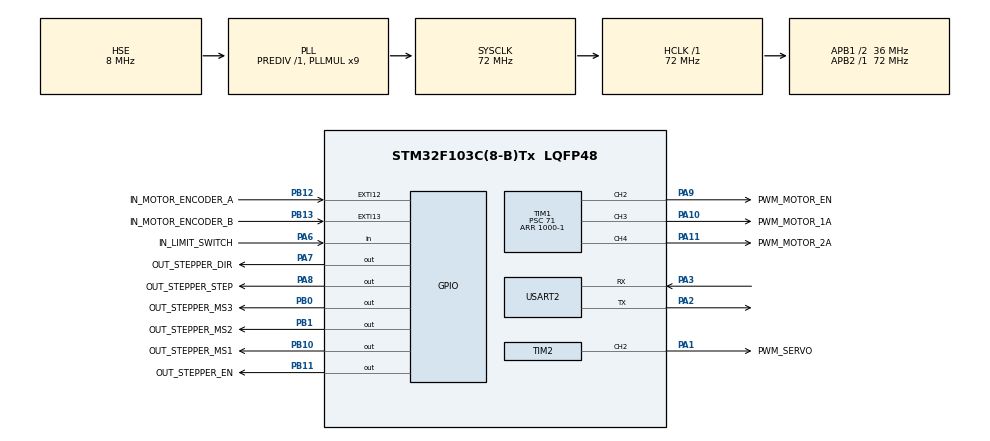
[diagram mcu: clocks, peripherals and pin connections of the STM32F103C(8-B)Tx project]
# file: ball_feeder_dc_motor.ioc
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Mcu.Family=STM32F1
Mcu.Name=STM32F103C(8-B)Tx
Mcu.Package=LQFP48
NVIC.EXTI15_10_IRQn=true\:0\:0\:false\:false\:true\:true\:true\:true
NVIC.PriorityGroup=NVIC_PRIORITYGROUP_4
NVIC.USART2_IRQn=true\:0\:0\:false\:false\:true\:true\:true\:true
PA1.GPIO_Label=PWM_SERVO
PA1.Signal=S_TIM2_CH2
PA10.GPIO_Label=PWM_MOTOR_1A
PA10.Signal=S_TIM1_CH3
PA11.GPIO_Label=PWM_MOTOR_2A
PA11.Signal=S_TIM1_CH4
PA13.Mode=Serial_Wire
PA13.Signal=SYS_JTMS-SWDIO
PA14.Mode=Serial_Wire
PA14.Signal=SYS_JTCK-SWCLK
PA2.Mode=Asynchronous
PA2.Signal=USART2_TX
PA3.Mode=Asynchronous
PA3.Signal=USART2_RX
PA6.GPIO_Label=IN_LIMIT_SWITCH
PA6.Signal=GPIO_Input
PA7.GPIO_Label=OUT_STEPPER_DIR
PA7.Signal=GPIO_Output
PA8.GPIO_Label=OUT_STEPPER_STEP
PA8.Signal=GPIO_Output
PA9.GPIO_Label=PWM_MOTOR_EN
PA9.Signal=S_TIM1_CH2
PB0.GPIO_Label=OUT_STEPPER_MS3
PB0.Signal=GPIO_Output
PB1.GPIO_Label=OUT_STEPPER_MS2
PB1.Signal=GPIO_Output
PB10.GPIO_Label=OUT_STEPPER_MS1
PB10.Signal=GPIO_Output
PB11.GPIO_Label=OUT_STEPPER_EN
PB11.Signal=GPIO_Output
PB12.GPIO_Label=IN_MOTOR_ENCODER_A
PB12.GPIO_PuPd=GPIO_PULLUP
PB12.Signal=GPXTI12
PB13.GPIO_Label=IN_MOTOR_ENCODER_B
PB13.GPIO_PuPd=GPIO_PULLUP
PB13.Signal=GPXTI13
PD0-OSC_IN.Mode=HSE-External-Oscillator
PD0-OSC_IN.Signal=RCC_OSC_IN
PD1-OSC_OUT.Mode=HSE-External-Oscillator
PD1-OSC_OUT.Signal=RCC_OSC_OUT
ProjectManager.HeapSize=0x200
ProjectManager.StackSize=0x400
ProjectManager.TargetToolchain=STM32CubeIDE
RCC.AHBFreq_Value=72000000
RCC.APB1CLKDivider=RCC_HCLK_DIV2
RCC.APB1Freq_Value=36000000
RCC.APB1TimFreq_Value=72000000
RCC.APB2Freq_Value=72000000
RCC.APB2TimFreq_Value=72000000
RCC.HCLKFreq_Value=72000000
RCC.PLLMUL=RCC_PLL_MUL9
RCC.PLLSourceVirtual=RCC_PLLSOURCE_HSE
RCC.SYSCLKFreq_VALUE=72000000
RCC.SYSCLKSource=RCC_SYSCLKSOURCE_PLLCLK
RCC.USBFreq_Value=72000000
SH.S_TIM1_CH2.0=TIM1_CH2,PWM Generation2 CH2
SH.S_TIM1_CH3.0=TIM1_CH3,PWM Generation3 CH3
SH.S_TIM1_CH4.0=TIM1_CH4,PWM Generation4 CH4
SH.S_TIM2_CH2.0=TIM2_CH2,PWM Generation2 CH2
TIM1.Channel-PWM\ Generation2\ CH2=TIM_CHANNEL_2
TIM1.Channel-PWM\ Generation3\ CH3=TIM_CHANNEL_3
TIM1.Channel-PWM\ Generation4\ CH4=TIM_CHANNEL_4
TIM1.Period=1000-1
TIM1.Prescaler=71
TIM2.Channel-PWM\ Generation2\ CH2=TIM_CHANNEL_2
TIM2.Period=20000-1
TIM2.Prescaler=72-1
USART2.VirtualMode=VM_ASYNC
VP_TIM1_VS_ClockSourceINT.Mode=Internal
board=custom

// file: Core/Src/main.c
/* USER CODE BEGIN Header */
/**
  ******************************************************************************
  * @file           : main.c
  * @brief          : Main program body
  ******************************************************************************
  * @attention
  *
  * Copyright (c) 2022 STMicroelectronics.
  * All rights reserved.
  *
  * This software is licensed under terms that can be found in the LICENSE file
  * in the root directory of this software component.
  * If no LICENSE file comes with this software, it is provided AS-IS.
  *
  ******************************************************************************
  */
/* USER CODE END Header */
#include "main.h"

TIM_HandleTypeDef htim1;
TIM_HandleTypeDef htim2;

UART_HandleTypeDef huart2;

/* USER CODE BEGIN PV */

//dc motor
long motor_encoder_a_pos = 0;
long motor_encoder_b_pos = 0;

//servo
//updated by set_servo_degree
int servo_degree = 0;

//stepper
//updated by set_stepper_step
int total_stepper_step = 0;

//limit switch
int limit_switch = 0;

//control
//updated by on_receive
int is_releasing_balls = 0;
//updated by release_balls
int ball_count = 300;

//serial

//variables
//HAL_StatusTypeDef ret;
uint8_t tx_data[12];
uint8_t rx_data[2];

/* USER CODE END PV */

void SystemClock_Config(void);
static void MX_GPIO_Init(void);
static void MX_TIM1_Init(void);
static void MX_TIM2_Init(void);
static void MX_USART2_UART_Init(void);
/* USER CODE BEGIN PFP */
void HAL_UART_DMA_Callback(){
	;
}
void HAL_GPIO_EXTI_Callback(uint16_t GPIO_PIN){

	if(GPIO_PIN == IN_MOTOR_ENCODER_A_Pin)
	{
		motor_encoder_a_pos = HAL_GetTick();
	}
	else if(GPIO_PIN == IN_MOTOR_ENCODER_B_Pin)
	{
		motor_encoder_b_pos = HAL_GetTick();
	}
	else if(GPIO_PIN == IN_LIMIT_SWITCH_Pin)
	{
		limit_switch = 1;
	}
}

void HAL_UART_RxCpltCallback(UART_HandleTypeDef *huart)
{
	//on_receive();
}
/* USER CODE END PFP */

/* USER CODE BEGIN 0 */
void set_motor_direction(int is_forward){
	if(is_forward)
	{
		htim1.Instance->CCR3 = htim1.Instance->ARR;
		htim1.Instance->CCR4 = 0;
	}
	else
	{
		htim1.Instance->CCR3 = 0;
		htim1.Instance->CCR4 = htim1.Instance->ARR;
	}
	return;
}
void set_motor_speed(int percentage){
	htim1.Instance->CCR2 = htim1.Instance->ARR * percentage;
	return;
}
void set_stepper_direction(int is_clockwise){
	if(is_clockwise)
		HAL_GPIO_WritePin(OUT_STEPPER_DIR_GPIO_Port, OUT_STEPPER_DIR_Pin, GPIO_PIN_SET);
	else
		HAL_GPIO_WritePin(OUT_STEPPER_DIR_GPIO_Port, OUT_STEPPER_DIR_Pin, GPIO_PIN_RESET);
	return;
}
void set_stepper_step(int step){
	for(int i = 0; i < step; i++)
	{
		HAL_GPIO_WritePin(OUT_STEPPER_STEP_GPIO_Port, OUT_STEPPER_STEP_Pin, GPIO_PIN_SET);
		HAL_Delay(100);
		HAL_GPIO_WritePin(OUT_STEPPER_STEP_GPIO_Port, OUT_STEPPER_STEP_Pin, GPIO_PIN_RESET);
		HAL_Delay(100);
		total_stepper_step += 1;
	}
	return;
}

void set_stepper_step_pwm(int step)
{

	return;
}
void calibrate_stepper(){
	limit_switch = 0;
	set_stepper_direction(0);
	while(1){
		if(limit_switch == 0){
			set_stepper_step(1);
			HAL_Delay(10);
		}
		else if(limit_switch == 1){
			break;
		}
	}
	limit_switch = 0;
	set_stepper_direction(1);
	set_stepper_step(1);

	return;
}

void set_servo_degree(int degree){
	//degree with respect to the jumper wire count degree counterclockwise
	//PSC: 72-1
	//ARR 20000-1
	//if(degree > 40 || degree < -40)
	//	return;

	htim2.Instance->CCR2 = 450 + degree*1875/180;
	servo_degree = degree;
	return;
}

void calibrate_servo(){
	set_servo_degree(0);
	return;
}

void release_ball(){
	unsigned long start = HAL_GetTick();
	set_motor_speed(1);
	while(1){
		if(HAL_GetTick() - start < 7000){
			continue;
		}
		else{
			break;
		}
	}
	ball_count -= 50;
	is_releasing_balls = 0;
  set_motor_speed(0);
	return;
}

void forward_kinematics(int x, int y){
	//TODO: Mapping of x onto degree and y onto step
	int degree = x;
	int step = y;

	set_servo_degree(degree);
	set_stepper_step(step);
	return;
}

void on_receive(){
	if(rx_data[0] == -1 || rx_data[1] == -1)
	{
		return;
	}
	int x = rx_data[0];
	int y = rx_data[1];

	forward_kinematics(x, y);

	rx_data[0] = -1;
	rx_data[1] = -1;

	is_releasing_balls = 1;
	release_ball();
}
void initialise(){
	//variables initialised at the top

	//stepper setup
	HAL_GPIO_WritePin(OUT_STEPPER_EN_GPIO_Port, OUT_STEPPER_EN_Pin, GPIO_PIN_SET);
	HAL_GPIO_WritePin(OUT_STEPPER_MS1_GPIO_Port, OUT_STEPPER_MS1_Pin, GPIO_PIN_SET);
	HAL_GPIO_WritePin(OUT_STEPPER_MS2_GPIO_Port, OUT_STEPPER_MS2_Pin, GPIO_PIN_RESET);
	HAL_GPIO_WritePin(OUT_STEPPER_MS3_GPIO_Port, OUT_STEPPER_MS3_Pin, GPIO_PIN_RESET);

	HAL_GPIO_WritePin(OUT_STEPPER_DIR_GPIO_Port, OUT_STEPPER_DIR_Pin, GPIO_PIN_SET);

	//serial communication
	HAL_UART_Receive_IT(&huart2, rx_data, sizeof(rx_data));
	HAL_UART_Receive_DMA(&huart2, rx_data, sizeof(rx_data));

	//robotic arm setup
	calibrate_stepper();
	calibrate_servo();

	//motor setup
	set_motor_speed(0);
	set_motor_direction(1);

	return ;
}

/* USER CODE END 0 */

int main(void)
{

  /* MCU Configuration--------------------------------------------------------*/

  /* Reset of all peripherals, Initializes the Flash interface and the Systick. */
  HAL_Init();

  /* Configure the system clock */
  SystemClock_Config();

  /* Initialize all configured peripherals */
  MX_GPIO_Init();
  MX_TIM1_Init();
  MX_TIM2_Init();
  MX_USART2_UART_Init();
  /* USER CODE BEGIN 2 */
  //motor enable
  HAL_TIM_PWM_Start(&htim1, TIM_CHANNEL_2);
  //motor input 1
  HAL_TIM_PWM_Start(&htim1, TIM_CHANNEL_3);
  //motor input 2
  HAL_TIM_PWM_Start(&htim1, TIM_CHANNEL_4);
  //servo motor
  HAL_TIM_PWM_Start(&htim2, TIM_CHANNEL_2);

  //initialise();
  HAL_GPIO_WritePin(OUT_STEPPER_DIR_GPIO_Port, OUT_STEPPER_DIR_Pin, GPIO_PIN_SET);
  HAL_GPIO_WritePin(OUT_STEPPER_EN_GPIO_Port, OUT_STEPPER_EN_Pin, GPIO_PIN_SET);
  HAL_GPIO_WritePin(OUT_STEPPER_MS1_GPIO_Port, OUT_STEPPER_MS1_Pin, GPIO_PIN_SET);
  HAL_GPIO_WritePin(OUT_STEPPER_MS2_GPIO_Port, OUT_STEPPER_MS2_Pin, GPIO_PIN_SET);
  HAL_GPIO_WritePin(OUT_STEPPER_MS3_GPIO_Port, OUT_STEPPER_MS3_Pin, GPIO_PIN_SET);
  /* USER CODE END 2 */

  /* Infinite loop */
  while (1)
  {

    /* USER CODE BEGIN 3 */
	set_stepper_step(100);
	//set_servo_degree(0);
	//HAL_Delay(2000);
	//set_servo_degree(90);
	//if(is_releasing_balls == 0)
	//{
	//	HAL_Delay(10);
	//	continue;
	//}

	//if(HAL_GetTick() - motor_encoder_a_pos > 1500)
	//{
		//set_motor_direction(0);
		//HAL_Delay(1000);
		//set_motor_direction(1);
	//}
  }
  /* USER CODE END 3 */
}

void SystemClock_Config(void)
{
  RCC_OscInitTypeDef RCC_OscInitStruct = {0};
  RCC_ClkInitTypeDef RCC_ClkInitStruct = {0};

  /** Initializes the RCC Oscillators according to the specified parameters
  * in the RCC_OscInitTypeDef structure.
  */
  RCC_OscInitStruct.OscillatorType = RCC_OSCILLATORTYPE_HSE;
  RCC_OscInitStruct.HSEState = RCC_HSE_ON;
  RCC_OscInitStruct.HSEPredivValue = RCC_HSE_PREDIV_DIV1;
  RCC_OscInitStruct.HSIState = RCC_HSI_ON;
  RCC_OscInitStruct.PLL.PLLState = RCC_PLL_ON;
  RCC_OscInitStruct.PLL.PLLSource = RCC_PLLSOURCE_HSE;
  RCC_OscInitStruct.PLL.PLLMUL = RCC_PLL_MUL9;
  if (HAL_RCC_OscConfig(&RCC_OscInitStruct) != HAL_OK)
  {
    Error_Handler();
  }

  /** Initializes the CPU, AHB and APB buses clocks
  */
  RCC_ClkInitStruct.ClockType = RCC_CLOCKTYPE_HCLK|RCC_CLOCKTYPE_SYSCLK
                              |RCC_CLOCKTYPE_PCLK1|RCC_CLOCKTYPE_PCLK2;
  RCC_ClkInitStruct.SYSCLKSource = RCC_SYSCLKSOURCE_PLLCLK;
  RCC_ClkInitStruct.AHBCLKDivider = RCC_SYSCLK_DIV1;
  RCC_ClkInitStruct.APB1CLKDivider = RCC_HCLK_DIV2;
  RCC_ClkInitStruct.APB2CLKDivider = RCC_HCLK_DIV1;

  if (HAL_RCC_ClockConfig(&RCC_ClkInitStruct, FLASH_LATENCY_2) != HAL_OK)
  {
    Error_Handler();
  }
}

static void MX_TIM1_Init(void)
{

  TIM_ClockConfigTypeDef sClockSourceConfig = {0};
  TIM_MasterConfigTypeDef sMasterConfig = {0};
  TIM_OC_InitTypeDef sConfigOC = {0};
  TIM_BreakDeadTimeConfigTypeDef sBreakDeadTimeConfig = {0};

  htim1.Instance = TIM1;
  htim1.Init.Prescaler = 71;
  htim1.Init.CounterMode = TIM_COUNTERMODE_UP;
  htim1.Init.Period = 1000-1;
  htim1.Init.ClockDivision = TIM_CLOCKDIVISION_DIV1;
  htim1.Init.RepetitionCounter = 0;
  htim1.Init.AutoReloadPreload = TIM_AUTORELOAD_PRELOAD_DISABLE;
  if (HAL_TIM_Base_Init(&htim1) != HAL_OK)
  {
    Error_Handler();
  }
  sClockSourceConfig.ClockSource = TIM_CLOCKSOURCE_INTERNAL;
  if (HAL_TIM_ConfigClockSource(&htim1, &sClockSourceConfig) != HAL_OK)
  {
    Error_Handler();
  }
  if (HAL_TIM_PWM_Init(&htim1) != HAL_OK)
  {
    Error_Handler();
  }
  sMasterConfig.MasterOutputTrigger = TIM_TRGO_RESET;
  sMasterConfig.MasterSlaveMode = TIM_MASTERSLAVEMODE_DISABLE;
  if (HAL_TIMEx_MasterConfigSynchronization(&htim1, &sMasterConfig) != HAL_OK)
  {
    Error_Handler();
  }
  sConfigOC.OCMode = TIM_OCMODE_PWM1;
  sConfigOC.Pulse = 0;
  sConfigOC.OCPolarity = TIM_OCPOLARITY_HIGH;
  sConfigOC.OCNPolarity = TIM_OCNPOLARITY_HIGH;
  sConfigOC.OCFastMode = TIM_OCFAST_DISABLE;
  sConfigOC.OCIdleState = TIM_OCIDLESTATE_RESET;
  sConfigOC.OCNIdleState = TIM_OCNIDLESTATE_RESET;
  if (HAL_TIM_PWM_ConfigChannel(&htim1, &sConfigOC, TIM_CHANNEL_2) != HAL_OK)
  {
    Error_Handler();
  }
  if (HAL_TIM_PWM_ConfigChannel(&htim1, &sConfigOC, TIM_CHANNEL_3) != HAL_OK)
  {
    Error_Handler();
  }
  if (HAL_TIM_PWM_ConfigChannel(&htim1, &sConfigOC, TIM_CHANNEL_4) != HAL_OK)
  {
    Error_Handler();
  }
  sBreakDeadTimeConfig.OffStateRunMode = TIM_OSSR_DISABLE;
  sBreakDeadTimeConfig.OffStateIDLEMode = TIM_OSSI_DISABLE;
  sBreakDeadTimeConfig.LockLevel = TIM_LOCKLEVEL_OFF;
  sBreakDeadTimeConfig.DeadTime = 0;
  sBreakDeadTimeConfig.BreakState = TIM_BREAK_DISABLE;
  sBreakDeadTimeConfig.BreakPolarity = TIM_BREAKPOLARITY_HIGH;
  sBreakDeadTimeConfig.AutomaticOutput = TIM_AUTOMATICOUTPUT_DISABLE;
  if (HAL_TIMEx_ConfigBreakDeadTime(&htim1, &sBreakDeadTimeConfig) != HAL_OK)
  {
    Error_Handler();
  }
  HAL_TIM_MspPostInit(&htim1);

}

static void MX_TIM2_Init(void)
{

  TIM_MasterConfigTypeDef sMasterConfig = {0};
  TIM_OC_InitTypeDef sConfigOC = {0};

  htim2.Instance = TIM2;
  htim2.Init.Prescaler = 72-1;
  htim2.Init.CounterMode = TIM_COUNTERMODE_UP;
  htim2.Init.Period = 20000-1;
  htim2.Init.ClockDivision = TIM_CLOCKDIVISION_DIV1;
  htim2.Init.AutoReloadPreload = TIM_AUTORELOAD_PRELOAD_DISABLE;
  if (HAL_TIM_PWM_Init(&htim2) != HAL_OK)
  {
    Error_Handler();
  }
  sMasterConfig.MasterOutputTrigger = TIM_TRGO_RESET;
  sMasterConfig.MasterSlaveMode = TIM_MASTERSLAVEMODE_DISABLE;
  if (HAL_TIMEx_MasterConfigSynchronization(&htim2, &sMasterConfig) != HAL_OK)
  {
    Error_Handler();
  }
  sConfigOC.OCMode = TIM_OCMODE_PWM1;
  sConfigOC.Pulse = 0;
  sConfigOC.OCPolarity = TIM_OCPOLARITY_HIGH;
  sConfigOC.OCFastMode = TIM_OCFAST_DISABLE;
  if (HAL_TIM_PWM_ConfigChannel(&htim2, &sConfigOC, TIM_CHANNEL_2) != HAL_OK)
  {
    Error_Handler();
  }
  HAL_TIM_MspPostInit(&htim2);

}

static void MX_USART2_UART_Init(void)
{

  huart2.Instance = USART2;
  huart2.Init.BaudRate = 115200;
  huart2.Init.WordLength = UART_WORDLENGTH_8B;
  huart2.Init.StopBits = UART_STOPBITS_1;
  huart2.Init.Parity = UART_PARITY_NONE;
  huart2.Init.Mode = UART_MODE_TX_RX;
  huart2.Init.HwFlowCtl = UART_HWCONTROL_NONE;
  huart2.Init.OverSampling = UART_OVERSAMPLING_16;
  if (HAL_UART_Init(&huart2) != HAL_OK)
  {
    Error_Handler();
  }

}

static void MX_GPIO_Init(void)
{
  GPIO_InitTypeDef GPIO_InitStruct = {0};

  /* GPIO Ports Clock Enable */
  __HAL_RCC_GPIOD_CLK_ENABLE();
  __HAL_RCC_GPIOA_CLK_ENABLE();
  __HAL_RCC_GPIOB_CLK_ENABLE();

  /*Configure GPIO pin Output Level */
  HAL_GPIO_WritePin(GPIOA, OUT_STEPPER_DIR_Pin|OUT_STEPPER_STEP_Pin, GPIO_PIN_RESET);

  /*Configure GPIO pin Output Level */
  HAL_GPIO_WritePin(GPIOB, OUT_STEPPER_MS3_Pin|OUT_STEPPER_MS2_Pin|OUT_STEPPER_MS1_Pin|OUT_STEPPER_EN_Pin, GPIO_PIN_RESET);

  /*Configure GPIO pin : IN_LIMIT_SWITCH_Pin */
  GPIO_InitStruct.Pin = IN_LIMIT_SWITCH_Pin;
  GPIO_InitStruct.Mode = GPIO_MODE_INPUT;
  GPIO_InitStruct.Pull = GPIO_NOPULL;
  HAL_GPIO_Init(IN_LIMIT_SWITCH_GPIO_Port, &GPIO_InitStruct);

  /*Configure GPIO pins : OUT_STEPPER_DIR_Pin OUT_STEPPER_STEP_Pin */
  GPIO_InitStruct.Pin = OUT_STEPPER_DIR_Pin|OUT_STEPPER_STEP_Pin;
  GPIO_InitStruct.Mode = GPIO_MODE_OUTPUT_PP;
  GPIO_InitStruct.Pull = GPIO_NOPULL;
  GPIO_InitStruct.Speed = GPIO_SPEED_FREQ_LOW;
  HAL_GPIO_Init(GPIOA, &GPIO_InitStruct);

  /*Configure GPIO pins : OUT_STEPPER_MS3_Pin OUT_STEPPER_MS2_Pin OUT_STEPPER_MS1_Pin OUT_STEPPER_EN_Pin */
  GPIO_InitStruct.Pin = OUT_STEPPER_MS3_Pin|OUT_STEPPER_MS2_Pin|OUT_STEPPER_MS1_Pin|OUT_STEPPER_EN_Pin;
  GPIO_InitStruct.Mode = GPIO_MODE_OUTPUT_PP;
  GPIO_InitStruct.Pull = GPIO_NOPULL;
  GPIO_InitStruct.Speed = GPIO_SPEED_FREQ_LOW;
  HAL_GPIO_Init(GPIOB, &GPIO_InitStruct);

  /*Configure GPIO pins : IN_MOTOR_ENCODER_A_Pin IN_MOTOR_ENCODER_B_Pin */
  GPIO_InitStruct.Pin = IN_MOTOR_ENCODER_A_Pin|IN_MOTOR_ENCODER_B_Pin;
  GPIO_InitStruct.Mode = GPIO_MODE_IT_RISING;
  GPIO_InitStruct.Pull = GPIO_PULLUP;
  HAL_GPIO_Init(GPIOB, &GPIO_InitStruct);

  /* EXTI interrupt init*/
  HAL_NVIC_SetPriority(EXTI15_10_IRQn, 0, 0);
  HAL_NVIC_EnableIRQ(EXTI15_10_IRQn);

}

void Error_Handler(void)
{
  __disable_irq();
  while (1)
  {
  }
}
